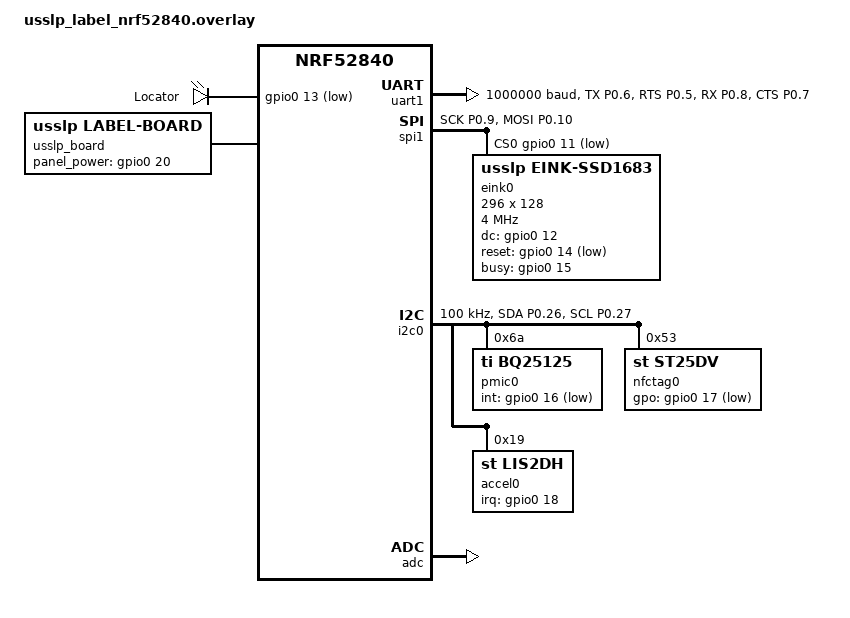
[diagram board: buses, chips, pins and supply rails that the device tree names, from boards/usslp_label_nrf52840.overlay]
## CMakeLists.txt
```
# USSLP Tier 1 smart shelf label firmware.
#
# A Zephyr application. Build it with west from a workspace whose manifest
# includes the nRF Connect SDK, because the Zigbee 3.0 stack (ZBOSS) ships there
# rather than in upstream Zephyr:
#
#   west build -b usslp_label_nrf52840 firmware -- -DCONF_FILE="prj.conf;boards/tier_29bwr.conf"
#
# scripts/build.sh wraps that with the three display tiers and the signing step.
# See README.md for what has and has not been verified: this application has not
# been compiled in the environment it was written in, because the Zephyr SDK is
# not present there.

cmake_minimum_required(VERSION 3.20.0)

find_package(Zephyr REQUIRED HINTS $ENV{ZEPHYR_BASE})
project(usslp_label VERSION 1.5.0 LANGUAGES C)

target_include_directories(app PRIVATE src)

# The portable core. Every file here also builds with a bare C11 compiler and is
# covered by firmware/tests; keeping the list identical to the CORE list in
# tests/Makefile is deliberate, and a file appearing in one and not the other is
# a review finding.
target_sources(app PRIVATE
  src/usslp_crc32c.c
  src/crypto/usslp_sha256.c
  src/crypto/usslp_canon.c
  src/crypto/usslp_keyring.c
  src/crypto/usslp_attest.c
  src/app/usslp_seq.c
  src/display/usslp_rle.c
  src/display/usslp_render_policy.c
  src/radio/usslp_wire.c
  src/radio/usslp_route.c
  src/power/usslp_budget.c
  src/ota/usslp_inflate.c
  src/ota/usslp_patch.c
  src/ota/usslp_chunkmap.c
)

# The Zephyr-dependent half: drivers, threads, storage, radio stacks.
target_sources(app PRIVATE
  src/main.c
  src/crypto/psa_backend.c
  src/crypto/devcert.c
  src/display/eink.c
  src/display/waveform.c
  src/display/framebuffer.c
  src/display/templates.c
  src/power/power.c
  src/power/pmic.c
  src/power/gauge.c
  src/power/harvest.c
  src/nfc/nfc.c
  src/sensor/tamper.c
  src/app/price.c
  src/app/seq_store.c
  src/app/provision.c
  src/app/telemetry.c
  src/ota/ota.c
  src/ota/slots.c
)

target_sources_ifdef(CONFIG_USSLP_ZIGBEE app PRIVATE
  src/radio/zigbee.c
  src/radio/usslp_cluster.c
)

target_sources_ifdef(CONFIG_USSLP_BLE app PRIVATE
  src/radio/ble.c
)

# The firmware version is compiled in and reported in telemetry and in the OTA
# cohort. It comes from the VERSION file so that the image header MCUboot signs
# and the string the device reports cannot disagree.
target_compile_definitions(app PRIVATE
  USSLP_FW_VERSION="${PROJECT_VERSION}"
)
```

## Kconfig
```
# USSLP label firmware configuration.
#
# The options here are the ones a deployment actually has to choose between, not
# a knob for every constant. Anything that is a property of the hardware lives
# in the devicetree; anything that is a property of the platform's contracts is
# not configurable at all.

menu "USSLP smart shelf label"

config USSLP_DISPLAY_TIER
	int "Display tier fitted to this board"
	default 0
	range 0 2
	help
	  0 = 2.9in 296x128 BWR, 1 = 4.2in 400x300 BW, 2 = 5.85in 600x448 ACeP.
	  The numbering is labelsim.DisplayTier's, so a tier in a planogram, in the
	  simulator and in this firmware are the same integer.

	  This is baked into the image and checked against the OTA manifest: an
	  image built for one panel must never be swapped onto another, because the
	  waveform tables are different and the wrong waveform can leave a panel
	  permanently marked.

config USSLP_EINK_PLANES
	int "Ink planes the panel controller is loaded with"
	default 2
	range 0 2
	help
	  Two for the BWR panel (a black plane and a red plane, one bit each), one
	  for the plain black and white panel, zero for the seven-colour panel,
	  which is streamed rather than buffered.

config USSLP_EINK_PLANE_BYTES
	int "Bytes in one packed ink plane"
	default 4736
	help
	  width*height/8, rounded up. Set per tier in boards/tier_*.conf. The
	  framebuffer is the largest RAM allocation in the firmware, which is why it
	  is packed here and one byte per pixel on the controller.

config USSLP_EINK_STREAMING
	bool "Stream the image to the panel controller instead of buffering it"
	default n
	help
	  The 5.85-inch seven-colour panel is 134 KB at four bits per pixel, which
	  does not fit alongside the radio stacks in 256 KB. In streaming mode the
	  decoder writes bands straight into the panel controller's own RAM as they
	  arrive from the mesh. The cost is that there is no retained local copy to
	  diff against, which is one of the two reasons that panel cannot do a
	  partial refresh.

menuconfig USSLP_ZIGBEE
	bool "Zigbee 3.0 primary radio"
	default y
	help
	  The primary uplink: an IEEE 802.15.4 mesh through the TI CC2652P
	  co-processor to the Shelf Edge Controller. Requires the ZBOSS stack from
	  the nRF Connect SDK.

if USSLP_ZIGBEE

config USSLP_ZIGBEE_ENDPOINT
	int "USSLP application endpoint"
	default 10

config USSLP_ZIGBEE_ROUTER
	bool "Build as a mains-powered relay rather than a sleepy end device"
	default n
	help
	  A relay keeps its receiver on and routes for its children. It is the same
	  firmware with a different power policy and a larger neighbour table, and
	  it is what makes a 25-metre aisle reachable from one controller.

endif # USSLP_ZIGBEE

config USSLP_BLE
	bool "BLE 5.0 secondary radio"
	default y
	help
	  Commissioning, field diagnostics and the shopper-facing beacon. The BLE
	  controller and the 802.15.4 radio share one antenna, so this costs
	  arbitration time on the primary radio; a store that commissions with NFC
	  only can turn it off and get the airtime back.

config USSLP_REQUIRE_ATTESTATION
	bool "Refuse any price update that does not carry an end-to-end attestation"
	default y
	help
	  INTERFACE-CONTRACTS section 5 places attestation verification at the Shelf
	  Edge Controller, and the Tier 2 to Tier 1 air protocol
	  (edge/labelsim/wire.go) accordingly carries no signature: what crosses the
	  mesh is a sequence number, a price and compressed pixels.

	  That design is sound against the threat model it states — an attacker with
	  write access to the store's broker cannot author a price — but it trusts
	  the controller, and a controller that has been replaced or rooted is inside
	  that trust boundary. With this option the label verifies for itself, using
	  the extended frame type 4 in radio/usslp_wire.h and a key ring it syncs
	  directly.

	  Set it to n for interoperability with controllers that still speak only
	  frame types 1-3. Doing so is a deliberate decision to trust Tier 2, and it
	  is logged at boot so that a fleet audit can find every label running that
	  way.

config USSLP_ATTESTATION_STRICT_CLOCK
	bool "Refuse an attestation when the label has no trusted time"
	default n
	depends on USSLP_REQUIRE_ATTESTATION
	help
	  A label with no clock cannot check a key's validity window. The default is
	  to verify the signature and skip the window, because the signature is the
	  real control and a label that refuses every price until it has synced time
	  is a label that shows nothing after a battery change. Enable this where a
	  trusted time source is guaranteed and a retired key must never be honoured.

config USSLP_KEYRING_SYNC_INTERVAL_HOURS
	int "How often to re-sync the price authority key ring"
	default 24
	range 1 168
	help
	  pki.PriceAuthority rotates with an overlap window. A label that syncs less
	  often than the overlap will meet a key it does not have and refuse prices
	  until it catches up.

config USSLP_BEACON_FAST_MS
	int "Listen interval while active"
	default 250
	help
	  The interval that makes a price change reach the glass inside the
	  platform's 300 ms budget. It is affordable only inside an activity window;
	  held all day it costs 208 uA and the cell lasts 99 days. See
	  power/usslp_budget.h for the arithmetic.

config USSLP_BEACON_SLOW_MS
	int "Listen interval at rest"
	default 30000
	help
	  The resting interval. A label here is on average half an interval from
	  being reachable at all, which is why a price load is planned as a window
	  rather than fired one label at a time.

config USSLP_ACTIVE_WINDOW_MS
	int "How long to stay on the fast interval after activity"
	default 60000

config USSLP_TARGET_LIFE_MILLIYEARS
	int "Battery life the adaptive policy aims at, in thousandths of a year"
	default 8000
	help
	  The power state machine derives its resting interval from this and the
	  measured workload, rather than from a hard-coded number. A label in a
	  freezer case, or one being repriced hourly, will choose a slower resting
	  interval than one on an ambient shelf.

config USSLP_TELEMETRY_INTERVAL_S
	int "Uplink health report interval"
	default 300
	help
	  Five minutes. Polling 40,000 labels would cost a zone's whole channel;
	  letting each label speak once every five minutes costs under one per cent
	  of it.

config USSLP_NFC
	bool "ST25DV dynamic NFC tag"
	default y

config USSLP_TAMPER
	bool "LIS2DH12 tamper detection"
	default y

config USSLP_OTA
	bool "Over-the-air update over the mesh"
	default y

if USSLP_OTA

config USSLP_OTA_DELTA
	bool "Accept binary delta patches as well as whole images"
	default y

config USSLP_OTA_CONFIRM_TIMEOUT_S
	int "Seconds a new image has to confirm itself before the watchdog reverts it"
	default 600
	help
	  A new image marks itself confirmed only after it has joined the mesh and
	  applied one update. Until then the watchdog is armed and a reset reverts to
	  the previous slot. Ten minutes is long enough to cover a slow mesh rejoin
	  and short enough that a label bricked by a bad image is back on the air
	  within a shift.

endif # USSLP_OTA

module = USSLP
module-str = usslp
source "subsys/logging/Kconfig.template.log_config"

endmenu

source "Kconfig.zephyr"
```

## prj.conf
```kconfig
# Base configuration for the USSLP label.
#
# The overriding constraint is that this device has 1 MB of flash, 256 KB of RAM
# and a coin cell that has to last most of a decade. Almost every line here is
# either buying a subsystem the product needs or switching off something Zephyr
# enables by default that would cost current.

# --- Kernel -----------------------------------------------------------------
CONFIG_MAIN_STACK_SIZE=2048
CONFIG_SYSTEM_WORKQUEUE_STACK_SIZE=2048
CONFIG_ISR_STACK_SIZE=1024
CONFIG_IDLE_STACK_SIZE=320
# Tickless idle is not an optimisation here, it is the whole low-power story: a
# periodic tick would wake the CPU 100 times a second forever.
CONFIG_TICKLESS_KERNEL=y
CONFIG_SYS_CLOCK_TICKS_PER_SEC=1000
# The RTC keeps time across deep sleep; the high-frequency clock does not run.
CONFIG_CLOCK_CONTROL=y

# --- Power ------------------------------------------------------------------
CONFIG_PM=y
CONFIG_PM_DEVICE=y
CONFIG_PM_DEVICE_RUNTIME=y
# The FPU stays off. The nRF52840 has one, but enabling it sets CONTROL.FPCA and
# adds 18 words to every exception entry, on a device that takes a radio
# interrupt tens of times a minute for seven years. Everything numeric in this
# firmware is integer or Q16.16; see radio/usslp_route.h.
# CONFIG_FPU is not set

# --- Drivers ----------------------------------------------------------------
CONFIG_GPIO=y
CONFIG_SPI=y
CONFIG_I2C=y
CONFIG_SENSOR=y
CONFIG_LIS2DH=y
CONFIG_LIS2DH_TRIGGER_GLOBAL_THREAD=y
CONFIG_ADC=y
CONFIG_WATCHDOG=y
CONFIG_HWINFO=y
CONFIG_REBOOT=y

# --- Storage ----------------------------------------------------------------
CONFIG_FLASH=y
CONFIG_FLASH_MAP=y
CONFIG_FLASH_PAGE_LAYOUT=y
CONFIG_NVS=y
CONFIG_SETTINGS=y
CONFIG_SETTINGS_NVS=y

# --- Crypto -----------------------------------------------------------------
# PSA Crypto through mbedTLS. Only the two primitives the product needs are
# built in: Ed25519 verification for the price attestation and the OTA image
# signature. SHA-256 is compiled in from src/crypto/usslp_sha256.c rather than
# taken from here, deliberately — see that file for why.
CONFIG_MBEDTLS=y
CONFIG_MBEDTLS_PSA_CRYPTO_C=y
CONFIG_PSA_WANT_ALG_PURE_EDDSA=y
CONFIG_PSA_WANT_ECC_TWISTED_EDWARDS_255=y
CONFIG_PSA_WANT_ALG_SHA_256=y
CONFIG_PSA_WANT_KEY_TYPE_ECC_PUBLIC_KEY=y
CONFIG_MBEDTLS_ENABLE_HEAP=y
CONFIG_MBEDTLS_HEAP_SIZE=8192
CONFIG_ENTROPY_GENERATOR=y

# --- Secure key storage -----------------------------------------------------
# The device identity key never leaves the secure image. On the nRF52840 there
# is no TrustZone, so "secure" is the SPU-protected region MCUboot leaves
# read-protected plus the ACL on the identity page; on the nRF5340 and nRF54L
# the same code targets TF-M and the key genuinely never leaves the secure
# world. src/crypto/devcert.c documents which of those this build got.
CONFIG_TRUSTED_STORAGE=y

# --- MCUboot / DFU ----------------------------------------------------------
CONFIG_BOOTLOADER_MCUBOOT=y
CONFIG_IMG_MANAGER=y
CONFIG_STREAM_FLASH=y
CONFIG_MCUBOOT_IMG_MANAGER=y

# --- Bluetooth --------------------------------------------------------------
CONFIG_BT=y
CONFIG_BT_PERIPHERAL=y
CONFIG_BT_DEVICE_NAME="USSLP Label"
CONFIG_BT_MAX_CONN=1
CONFIG_BT_CTLR_TX_PWR_MINUS_8=y

# --- Logging ----------------------------------------------------------------
# Deferred logging with a small buffer. Immediate mode would hold the CPU awake
# through every UART character, and on a production label the backend is the
# RTT ring the field engineer's probe reads, not a UART nobody has wired.
CONFIG_LOG=y
CONFIG_LOG_MODE_DEFERRED=y
CONFIG_LOG_BUFFER_SIZE=1024
CONFIG_LOG_DEFAULT_LEVEL=2
CONFIG_USSLP_LOG_LEVEL_INF=y
CONFIG_USE_SEGGER_RTT=y
CONFIG_RTT_CONSOLE=y
CONFIG_UART_CONSOLE=n
CONFIG_SERIAL=n

# --- Size -------------------------------------------------------------------
CONFIG_SIZE_OPTIMIZATIONS=y
CONFIG_ASSERT=y
CONFIG_THREAD_NAME=y
CONFIG_BOOT_BANNER=n
CONFIG_PRINTK=y
CONFIG_CBPRINTF_NANO=y
```

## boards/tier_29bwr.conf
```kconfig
# 2.9-inch 296x128 black/white/red: the volume product, on the overwhelming
# majority of shelf edges.
#
# Two ink planes at one bit each: 296*128/8 = 4,736 bytes per plane, 9,472 bytes
# for the pair. That is the single largest RAM allocation in the firmware and it
# is why the framebuffer is packed rather than one byte per pixel like the
# controller's.
CONFIG_USSLP_DISPLAY_TIER=0
CONFIG_USSLP_EINK_PLANE_BYTES=4736
CONFIG_USSLP_EINK_PLANES=2
CONFIG_HEAP_MEM_POOL_SIZE=4096
```

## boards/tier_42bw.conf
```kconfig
# 4.2-inch 400x300 black/white: larger price points and multi-buy messaging.
#
# One plane, 400*300/8 = 15,000 bytes. Bigger than the BWR pair, and the 2 s
# waveform costs a third more charge per refresh, so a 4.2 label on the platform
# planning workload projects 8.1 years against the 2.9's 8.7.
CONFIG_USSLP_DISPLAY_TIER=1
CONFIG_USSLP_EINK_PLANE_BYTES=15000
CONFIG_USSLP_EINK_PLANES=1
CONFIG_HEAP_MEM_POOL_SIZE=4096
```

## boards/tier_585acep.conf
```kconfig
# 5.85-inch 600x448 seven-colour ACeP: promotion ends and fresh counters.
#
# Four bits per pixel, 600*448/2 = 134,400 bytes. That does not fit alongside
# everything else in 256 KB, so this tier streams the image to the panel
# controller's own RAM in bands as it arrives from the mesh rather than holding a
# framebuffer; see display/framebuffer.c. It is also why this tier cannot do a
# partial refresh: there is no retained local copy to diff against.
#
# The honest part: at the platform's planning workload of ten changes a day, a
# 15-second waveform at 35 mA is 60 uA on its own and the cell lasts ten months.
# This panel is a mains-powered or low-cadence fitting. The firmware refuses to
# claim otherwise -- app/provision.c reports the projection at commissioning and
# raises device.battery.projection.short if the planogram has put a colour panel
# on a high-churn shelf.
CONFIG_USSLP_DISPLAY_TIER=2
CONFIG_USSLP_EINK_PLANE_BYTES=0
CONFIG_USSLP_EINK_PLANES=0
CONFIG_USSLP_EINK_STREAMING=y
CONFIG_HEAP_MEM_POOL_SIZE=8192
CONFIG_USSLP_TELEMETRY_INTERVAL_S=1800
```

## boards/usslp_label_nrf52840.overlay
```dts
/*
 * USSLP Tier 1 smart shelf label, nRF52840 revision C.
 *
 * The board:
 *   nRF52840        application MCU, 1 MB flash / 256 KB RAM, BLE 5.0
 *   CC2652P         802.15.4 / Zigbee 3.0 co-processor over UART with a
 *                   hardware handshake, so the nRF can sleep while the radio
 *                   holds its receive window open
 *   SSD1683-class   E-Ink panel controller over SPI
 *   ST25DV04K       dynamic NFC tag over I2C, field powered for reads
 *   LIS2DH12        accelerometer for tamper detection, interrupt driven
 *   BQ25125         PMIC with a boost for the E-Ink rails and an RF harvest
 *                   input
 *
 * Note on the co-processor split: the nRF52840 has its own 802.15.4 radio, and a
 * single-chip design is cheaper. The CC2652P is there because it can hold a
 * receive window open at 6.5 mA with the nRF in System OFF at 0.8 uA, and the
 * beacon listen is more than half this device's entire energy budget
 * (power/usslp_budget.h). Splitting the radio out is the reason the seven-year
 * figure is reachable at all.
 */

/ {
	chosen {
		zephyr,console = &uart0;
		zephyr,shell-uart = &uart0;
		usslp,eink = &eink0;
		usslp,pmic = &pmic0;
		usslp,nfc-tag = &nfctag0;
		usslp,accel = &accel0;
		usslp,radio-cp = &uart1;
	};

	aliases {
		eink0 = &eink0;
		pmic0 = &pmic0;
		nfctag0 = &nfctag0;
		accel0 = &accel0;
		locator-led = &led_locator;
	};

	leds {
		compatible = "gpio-leds";

		/* The locator LED is how a picker finds one shelf edge among four
		 * hundred. It is also a measurable battery cost, so it is pulsed for
		 * milliseconds and only when a human is expected to act. */
		led_locator: led_0 {
			gpios = <&gpio0 13 GPIO_ACTIVE_LOW>;
			label = "Locator";
		};
	};

	usslp_board {
		compatible = "usslp,label-board";

		/* The E-Ink charge pump rails. The panel draws 26-35 mA while the
		 * waveform runs, which is the largest current this device ever takes,
		 * and the boost has to be up before the first SPI command. */
		panel_power_gpios = <&gpio0 20 GPIO_ACTIVE_HIGH>;

		/* The RF harvesting rectifier's output. It is sampled, not relied on:
		 * a label under a reader gate harvests usefully and a label in the
		 * middle of an aisle harvests nothing. */
		harvest_sense = <&adc 2>;
	};
};

&uart0 {
	status = "disabled"; /* the production build consoles over RTT */
};

/* The link to the CC2652P. Hardware flow control matters: the co-processor
 * raises CTS when it has a frame, which is what wakes the nRF from System ON
 * idle without a poll. */
&uart1 {
	compatible = "nordic,nrf-uarte";
	status = "okay";
	current-speed = <1000000>;
	hw-flow-control;
	pinctrl-0 = <&uart1_default>;
	pinctrl-1 = <&uart1_sleep>;
	pinctrl-names = "default", "sleep";
};

&spi1 {
	compatible = "nordic,nrf-spim";
	status = "okay";
	pinctrl-0 = <&spi1_default>;
	pinctrl-1 = <&spi1_sleep>;
	pinctrl-names = "default", "sleep";
	cs-gpios = <&gpio0 11 GPIO_ACTIVE_LOW>;

	eink0: eink@0 {
		compatible = "usslp,eink-ssd1683";
		reg = <0>;
		/* 4 MHz. The panel controller tolerates 20 MHz, but the framebuffer is
		 * a few kilobytes and pushing it faster saves microseconds against a
		 * waveform that takes 1.5 seconds. Slower edges cost less EMI on a
		 * flexible cable that runs the length of a shelf. */
		spi-max-frequency = <4000000>;
		dc-gpios = <&gpio0 12 GPIO_ACTIVE_HIGH>;
		reset-gpios = <&gpio0 14 GPIO_ACTIVE_LOW>;
		busy-gpios = <&gpio0 15 GPIO_ACTIVE_HIGH>;
		width = <296>;
		height = <128>;
	};
};

&i2c0 {
	compatible = "nordic,nrf-twim";
	status = "okay";
	clock-frequency = <I2C_BITRATE_STANDARD>;
	pinctrl-0 = <&i2c0_default>;
	pinctrl-1 = <&i2c0_sleep>;
	pinctrl-names = "default", "sleep";

	pmic0: bq25125@6a {
		compatible = "ti,bq25125";
		reg = <0x6a>;
		int-gpios = <&gpio0 16 GPIO_ACTIVE_LOW>;
	};

	nfctag0: st25dv@53 {
		compatible = "st,st25dv";
		reg = <0x53>;
		/* The system-configuration address is a second I2C address on the same
		 * part; the driver needs both. */
		system-reg = <0x57>;
		gpo-gpios = <&gpio0 17 GPIO_ACTIVE_LOW>;
		size = <512>; /* ST25DV04K: 4 kbit user memory */
	};

	accel0: lis2dh12@19 {
		compatible = "st,lis2dh";
		reg = <0x19>;
		irq-gpios = <&gpio0 18 GPIO_ACTIVE_HIGH>;
		/* 10 Hz is enough to see a label being unclipped and is the lowest rate
		 * the part offers above power-down. Tamper detection is a
		 * "did somebody take this off the rail" question, not a motion-capture
		 * problem. */
		anym-on-int1;
	};
};

&adc {
	status = "okay";
};

/*
 * Flash layout for a 1 MB part with MCUboot and two application slots.
 *
 *   0x000000  48 KiB  MCUboot
 *   0x00c000 424 KiB  slot0 (running image)
 *   0x076000 424 KiB  slot1 (staged image)
 *   0x0e0000  96 KiB  ota_scratch (the staged delta patch, memory mapped and
 *                     read directly by the applier)
 *   0x0f8000  24 KiB  storage (NVS: sequence, ghosting counter, key ring,
 *                     provisioning record)
 *   0x0fe000   8 KiB  identity (the device key and certificate, ACL locked at
 *                     boot so nothing after the bootloader can read it)
 *
 * The two application slots have to be the same size because MCUboot swaps
 * them. 424 KiB is generous against the ~180 KiB this application builds to;
 * the headroom is deliberate, because the thing you cannot do in the field is
 * grow a partition.
 */
&flash0 {
	partitions {
		compatible = "fixed-partitions";
		#address-cells = <1>;
		#size-cells = <1>;

		boot_partition: partition@0 {
			label = "mcuboot";
			reg = <0x00000000 0x0000c000>;
		};

		slot0_partition: partition@c000 {
			label = "image-0";
			reg = <0x0000c000 0x0006a000>;
		};

		slot1_partition: partition@76000 {
			label = "image-1";
			reg = <0x00076000 0x0006a000>;
		};

		ota_scratch_partition: partition@e0000 {
			label = "ota-scratch";
			reg = <0x000e0000 0x00018000>;
		};

		storage_partition: partition@f8000 {
			label = "storage";
			reg = <0x000f8000 0x00006000>;
		};

		identity_partition: partition@fe000 {
			label = "identity";
			reg = <0x000fe000 0x00002000>;
		};
	};
};

&pinctrl {
	uart1_default: uart1_default {
		group1 {
			psels = <NRF_PSEL(UART_TX, 0, 6)>, <NRF_PSEL(UART_RTS, 0, 5)>;
		};
		group2 {
			psels = <NRF_PSEL(UART_RX, 0, 8)>, <NRF_PSEL(UART_CTS, 0, 7)>;
			bias-pull-up;
		};
	};

	uart1_sleep: uart1_sleep {
		group1 {
			psels = <NRF_PSEL(UART_TX, 0, 6)>, <NRF_PSEL(UART_RX, 0, 8)>,
				<NRF_PSEL(UART_RTS, 0, 5)>, <NRF_PSEL(UART_CTS, 0, 7)>;
			low-power-enable;
		};
	};

	spi1_default: spi1_default {
		group1 {
			psels = <NRF_PSEL(SPIM_SCK, 0, 9)>, <NRF_PSEL(SPIM_MOSI, 0, 10)>;
		};
	};

	spi1_sleep: spi1_sleep {
		group1 {
			psels = <NRF_PSEL(SPIM_SCK, 0, 9)>, <NRF_PSEL(SPIM_MOSI, 0, 10)>;
			low-power-enable;
		};
	};

	i2c0_default: i2c0_default {
		group1 {
			psels = <NRF_PSEL(TWIM_SDA, 0, 26)>, <NRF_PSEL(TWIM_SCL, 0, 27)>;
		};
	};

	i2c0_sleep: i2c0_sleep {
		group1 {
			psels = <NRF_PSEL(TWIM_SDA, 0, 26)>, <NRF_PSEL(TWIM_SCL, 0, 27)>;
			low-power-enable;
		};
	};
};
```

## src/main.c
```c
/*
 * USSLP Tier 1 smart shelf label: init, threads, and the main state machine.
 *
 * Threading
 * ---------
 * Four threads, and the split is dictated by one fact: driving the E-Ink panel
 * blocks for between 300 ms and 15 s, and during that time the radio is off.
 *
 *   main       boot, init, then the supervisory loop: watchdog, OTA
 *              confirmation, and the sleep the whole design exists to maximise
 *   price      takes frames from the radio and does the ordered work in
 *              app/price.h, including the blocking refresh. It is a separate
 *              thread precisely so that a fifteen-second colour-panel waveform
 *              does not hold the radio stack's callback context
 *   uplink     drains the acknowledgement and telemetry queue, because a
 *              transmission has to wait for the medium and holding the stack's
 *              callback through a CSMA backoff blocks reception
 *   zigbee     the ZBOSS stack's own thread
 *
 * Everything else is work items on the system workqueue: telemetry, the tamper
 * confirmation, the commissioning window timeout. None of them blocks for long
 * and none of them needs its own stack.
 *
 * Boot order
 * ----------
 * The order below is not arbitrary. Identity before crypto, because the key ring
 * lives in settings and settings needs flash. Display before provisioning,
 * because an unprovisioned label's first useful act is to put its serial on the
 * glass. Sequence store before radio, because a frame arriving before the stored
 * sequence has been read would be evaluated against a sequence of "never
 * displayed" and would be accepted when it should have been discarded — which is
 * a stale price on a shelf, and the exact failure INTERFACE-CONTRACTS section 6
 * exists to prevent.
 */

#include "app/price.h"
#include "app/provision.h"
#include "app/seq_store.h"
#include "app/telemetry.h"
#include "crypto/devcert.h"
#include "display/eink.h"
#include "ota/ota.h"
#include "power/power.h"
#include "radio/radio.h"
#include "nfc/nfc.h"
#include "sensor/tamper.h"

#include <zephyr/kernel.h>
#include <zephyr/logging/log.h>
#include <zephyr/sys/reboot.h>

LOG_MODULE_REGISTER(usslp_main, CONFIG_USSLP_LOG_LEVEL);

/*
 * The price thread's stack.
 *
 * 4 KiB, and the largest consumer is the OTA delta path, which is not on this
 * thread. On the price path the deepest call is the attestation verifier: a
 * 104-byte SHA-256 context, a 768-byte scratch struct for the wire frame's
 * identifiers, and PSA's own frame for the Ed25519 verification. 2 KiB would
 * fit and 4 KiB leaves room for the logging backend's formatting buffer, which
 * is easy to forget until a stack overflow in the field turns out to be a log
 * line.
 */
#define PRICE_STACK_SIZE 4096
#define PRICE_PRIORITY 5

K_THREAD_STACK_DEFINE(price_stack, PRICE_STACK_SIZE);
static struct k_thread price_thread_data;

/* Inbound frames from the radio. Four deep: a label that is more than four price
 * updates behind has a problem the queue depth will not solve, and a deeper
 * queue would only let it apply a backlog of superseded prices one waveform at a
 * time. */
K_MSGQ_DEFINE(price_q, 160, 4, 4);

struct price_item {
	uint16_t len;
	uint8_t data[158];
};

static void on_radio_frame(const uint8_t *frame, size_t len)
{
	struct price_item item;

	if (len > sizeof(item.data)) {
		LOG_WRN("dropping a %u-byte frame; the largest this label accepts is %u",
			(unsigned)len, (unsigned)sizeof(item.data));
		return;
	}
	item.len = (uint16_t)len;
	memcpy(item.data, frame, len);
	if (k_msgq_put(&price_q, &item, K_NO_WAIT) != 0) {
		/* The queue is full, which means a refresh is running and more updates
		 * have arrived behind it. Dropping the newest would be wrong — it is the
		 * most current price — so the oldest is dropped and the newest queued.
		 * The sequence rule makes this safe: whichever ones survive, only the
		 * highest sequence reaches the glass. */
		struct price_item stale;

		(void)k_msgq_get(&price_q, &stale, K_NO_WAIT);
		(void)k_msgq_put(&price_q, &item, K_NO_WAIT);
	}
}

static void price_thread(void *a, void *b, void *c)
{
	struct price_item item;

	ARG_UNUSED(a);
	ARG_UNUSED(b);
	ARG_UNUSED(c);

	for (;;) {
		if (k_msgq_get(&price_q, &item, K_FOREVER) != 0) {
			continue;
		}
		if (usslp_price_handle_frame(item.data, item.len) == USSLP_OK) {
			/* A verified price reached the glass. Two things follow from that
			 * and from nothing weaker: the label is ACTIVE rather than merely
			 * assigned, and a freshly swapped image has earned the right to
			 * confirm itself. */
			usslp_provision_note_price_displayed();
			if (usslp_ota_pending() && usslp_radio_joined()) {
				(void)usslp_ota_confirm();
			}
		}
	}
}

int main(void)
{
	int rc;

	LOG_INF("USSLP label firmware %s, display tier %d", USSLP_FW_VERSION,
		CONFIG_USSLP_DISPLAY_TIER);

	if (!IS_ENABLED(CONFIG_USSLP_REQUIRE_ATTESTATION)) {
		/*
		 * Logged loudly, at boot, every boot. This build trusts the Shelf Edge
		 * Controller to have verified the price attestation on the label's
		 * behalf, which is what INTERFACE-CONTRACTS section 5 specifies and is
		 * a sound design against the threat model it states — but it does mean
		 * a compromised controller can author a price. A fleet audit finds
		 * labels running this way by reading the attestation-mode attribute;
		 * this line is how a field engineer finds one with a debugger.
		 */
		LOG_WRN("CONFIG_USSLP_REQUIRE_ATTESTATION is disabled: this label trusts "
			"its controller to have verified prices on its behalf");
	}

	/* Identity first: the key ring lives in settings, and everything that
	 * verifies anything needs it. */
	rc = usslp_devcert_init();
	if (rc != USSLP_OK) {
		LOG_ERR("identity unavailable (%d); continuing unprovisioned", rc);
	}

	rc = usslp_power_init();
	if (rc != USSLP_OK) {
		LOG_ERR("power init failed (%d)", rc);
	}

	rc = usslp_eink_init();
	if (rc != USSLP_OK) {
		/* No panel means no product. The label stays up so that a technician can
		 * reach it over BLE and read the fault, but it will not join a mesh and
		 * pretend to be a working shelf edge. */
		LOG_ERR("display init failed (%d); this label cannot show a price", rc);
	}

	/*
	 * The sequence store before the radio. A frame that arrived before the
	 * stored sequence had been read would be evaluated against "never
	 * displayed" and accepted — putting a superseded price on the glass after
	 * every reboot, which is exactly what INTERFACE-CONTRACTS section 6 exists
	 * to prevent.
	 */
	rc = usslp_price_init();
	if (rc != USSLP_OK) {
		LOG_ERR("price handler init failed (%d)", rc);
	}

	rc = usslp_ota_init();
	if (rc != USSLP_OK) {
		LOG_ERR("OTA init failed (%d)", rc);
	}

	if (IS_ENABLED(CONFIG_USSLP_NFC)) {
		(void)usslp_nfc_init();
	}
	if (IS_ENABLED(CONFIG_USSLP_TAMPER)) {
		(void)usslp_tamper_init();
	}

	(void)usslp_provision_init();

	k_thread_create(&price_thread_data, price_stack, PRICE_STACK_SIZE, price_thread, NULL,
			NULL, NULL, PRICE_PRIORITY, 0, K_NO_WAIT);
	k_thread_name_set(&price_thread_data, "usslp_price");

	rc = usslp_radio_init(on_radio_frame);
	if (rc != USSLP_OK) {
		LOG_ERR("radio init failed (%d)", rc);
	}
	if (IS_ENABLED(CONFIG_USSLP_BLE)) {
		(void)usslp_ble_init();
	}

	(void)usslp_telemetry_init();

	LOG_INF("up: %s, %s", usslp_provision_state_str(usslp_provision_state()),
		usslp_radio_joined() ? "joined" : "not joined");

	/*
	 * The supervisory loop.
	 *
	 * It does almost nothing, on purpose. Every millisecond this thread is
	 * awake is a millisecond the CPU is not in System OFF at 0.8 uA, and the
	 * whole battery argument rests on the CPU being asleep essentially all the
	 * time. Waking once a second to feed a watchdog is about 20 us of CPU per
	 * wake, which is under a nanoamp averaged — but it is the kind of cost that
	 * accumulates if the loop is allowed to grow, so it stays this short.
	 */
	for (;;) {
		usslp_ota_watchdog_feed();

		if (usslp_ota_pending()) {
			/*
			 * A freshly swapped image confirms itself only when it has both
			 * joined the mesh and applied a price. The price side is handled on
			 * the price thread; this catches the case where the label has joined
			 * and is simply not being sent anything, which on a quiet aisle at
			 * night is normal and must not be allowed to look like a failed
			 * update.
			 *
			 * The threshold is deliberately most of the confirm timeout: if the
			 * label has been joined for that long without a price, the mesh
			 * works and the image is fine, and reverting it would be a
			 * regression triggered by a quiet shelf.
			 */
			static uint32_t joined_seconds;

			if (usslp_radio_joined()) {
				joined_seconds++;
				if (joined_seconds >
				    (uint32_t)CONFIG_USSLP_OTA_CONFIRM_TIMEOUT_S / 2u) {
					LOG_INF("confirming the image: joined and stable "
						"for %u s with no price to apply",
						joined_seconds);
					(void)usslp_ota_confirm();
				}
			} else {
				joined_seconds = 0;
			}
		}

		k_sleep(K_SECONDS(1));
	}
	return 0;
}
```

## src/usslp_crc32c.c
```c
#include "usslp_crc32c.h"

/* Reflected Castagnoli polynomial, nibble-wise. Entry i is the CRC of the
 * 4-bit value i shifted into an all-zero register. */
static const uint32_t crc32c_nibble[16] = {
	0x00000000u, 0x105ec76fu, 0x20bd8edeu, 0x30e349b1u, 0x417b1dbcu, 0x5125dad3u,
	0x61c69362u, 0x7198540du, 0x82f63b78u, 0x92a8fc17u, 0xa24bb5a6u, 0xb21572c9u,
	0xc38d26c4u, 0xd3d3e1abu, 0xe330a81au, 0xf36e6f75u,
};

uint32_t usslp_crc32c_update(uint32_t crc, const void *data, size_t len)
{
	const uint8_t *p = (const uint8_t *)data;
	uint32_t reg = ~crc;

	for (size_t i = 0; i < len; i++) {
		reg ^= p[i];
		reg = (reg >> 4) ^ crc32c_nibble[reg & 0x0fu];
		reg = (reg >> 4) ^ crc32c_nibble[reg & 0x0fu];
	}
	return ~reg;
}

uint32_t usslp_crc32c(const void *data, size_t len)
{
	return usslp_crc32c_update(0u, data, len);
}
```

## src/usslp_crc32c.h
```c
/*
 * usslp_crc32c.h - CRC-32 Castagnoli.
 *
 * The air protocol's image checksum is CRC-32C (edge/labelsim/wire.go uses
 * hash/crc32 with crc32.Castagnoli), so the firmware needs the same polynomial
 * with the same reflection, initial value and final inversion. The NVS records
 * use it too, for the different job of catching a half-written record after a
 * brownout.
 *
 * Implemented with the nibble-wise table: 16 entries and 64 bytes of flash
 * rather than 1 KiB for the byte-wise table. A price image is a few hundred
 * bytes, so the difference is a handful of microseconds per update against a
 * kilobyte of a budget that is measured in kilobytes.
 */

#ifndef USSLP_CRC32C_H
#define USSLP_CRC32C_H

#include "usslp_portable.h"

/* Standard CRC-32C: init 0xFFFFFFFF, reflected input and output, final xor
 * 0xFFFFFFFF. Matches Go's crc32.Checksum(b, crc32.MakeTable(crc32.Castagnoli)). */
uint32_t usslp_crc32c(const void *data, size_t len);

/* Incremental form, for a payload arriving as mesh fragments. Seed the first
 * call with 0 and pass the previous return value thereafter. */
uint32_t usslp_crc32c_update(uint32_t crc, const void *data, size_t len);

#endif /* USSLP_CRC32C_H */
```

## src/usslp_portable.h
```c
/*
 * usslp_portable.h - the boundary between the portable core and Zephyr.
 *
 * Every header under src/ that includes only this file is *portable*: it
 * compiles with a bare C11 toolchain, it has no Zephyr dependency, it does no
 * I/O, and it is covered by the host tests in firmware/tests. That set is
 * deliberately the set of things that would be catastrophic to get wrong:
 *
 *   - the price attestation canonical string and digest (crypto/usslp_canon.h)
 *   - the attestation verifier and key ring        (crypto/usslp_attest.h)
 *   - the monotonic sequence rule                  (app/usslp_seq.h)
 *   - the OTA delta applier                        (ota/usslp_patch.h)
 *   - the mesh routing cost and link-risk model    (radio/usslp_route.h)
 *   - the energy budget                            (power/usslp_budget.h)
 *   - the air-frame codec and the image codec      (radio/usslp_wire.h,
 *                                                   display/usslp_rle.h)
 *   - the refresh / ghosting policy                (display/usslp_render_policy.h)
 *
 * Anything that touches a peripheral lives in a .c file that includes Zephyr
 * headers directly and is *not* in that set. The split is what makes it
 * possible to state honestly which parts of this firmware have been executed
 * and which have only been compiled — see firmware/README.md.
 */

#ifndef USSLP_PORTABLE_H
#define USSLP_PORTABLE_H

#include <stdbool.h>
#include <stddef.h>
#include <stdint.h>

/* Result codes shared across the portable core. Negative is failure, and the
 * numeric values are stable because they are reported in telemetry and appear
 * in the platform's runbooks. */
enum usslp_status {
	USSLP_OK = 0,
	USSLP_ERR_INVAL = -1,       /* caller passed something impossible */
	USSLP_ERR_NOSPACE = -2,     /* output buffer too small */
	USSLP_ERR_MALFORMED = -3,   /* input is not well formed */
	USSLP_ERR_UNSUPPORTED = -4, /* well formed, but this build cannot do it */
	USSLP_ERR_INTEGRITY = -5,   /* hash or CRC mismatch */
	USSLP_ERR_AUTH = -6,        /* signature or key failure */
	USSLP_ERR_STALE = -7,       /* sequence rule rejected it */
	USSLP_ERR_IO = -8,          /* flash / bus failure */
	USSLP_ERR_BUSY = -9,        /* the panel or radio is mid-operation */
};

/* usslp_ct_memcmp compares in constant time with respect to the *contents* of
 * the two buffers, returning 0 when they are equal.
 *
 * It is used for digest and key-identifier comparisons. An early-exit memcmp on
 * a digest is a genuine oracle here: an attacker with write access to the mesh
 * can submit a price update repeatedly and time the rejection, recovering the
 * expected digest a byte at a time and then searching for a price whose digest
 * matches a signature they already hold. The cost of avoiding that is thirty-two
 * XORs.
 *
 * Declared inline in the header because it is used by several translation units
 * and is four lines; static inline avoids a cross-module call in the hot path
 * without needing link-time optimisation. */
static inline int usslp_ct_memcmp(const void *a, const void *b, size_t len)
{
	const uint8_t *pa = (const uint8_t *)a;
	const uint8_t *pb = (const uint8_t *)b;
	uint8_t diff = 0;
	for (size_t i = 0; i < len; i++) {
		diff |= (uint8_t)(pa[i] ^ pb[i]);
	}
	/* Fold any non-zero difference to 1 without branching on it: for diff in
	 * 0..255, (diff + 255) >> 8 is 0 exactly when diff is 0. */
	return (int)(((uint32_t)diff + 0xffu) >> 8);
}

/* usslp_ct_streq compares two NUL-terminated strings of bounded length in a
 * way that does not leak the position of the first difference. It still leaks
 * the lengths, which is fine: key identifiers are public. */
static inline bool usslp_ct_streq(const char *a, const char *b, size_t max)
{
	size_t la = 0, lb = 0;
	while (la < max && a[la] != '\0') {
		la++;
	}
	while (lb < max && b[lb] != '\0') {
		lb++;
	}
	if (la != lb) {
		return false;
	}
	return usslp_ct_memcmp(a, b, la) == 0;
}

/* Rounded integer division, half away from zero. Every rounding decision in the
 * portable core goes through this so that the C and Go models cannot disagree
 * about a boundary case: canon.roundDiv in platform/pkg/canon/money.go is the
 * same rule. */
static inline int64_t usslp_round_div(int64_t num, int64_t den)
{
	if (den == 0) {
		return 0;
	}
	if ((num < 0) != (den < 0)) {
		return (num - den / 2) / den;
	}
	return (num + den / 2) / den;
}

#endif /* USSLP_PORTABLE_H */
```
